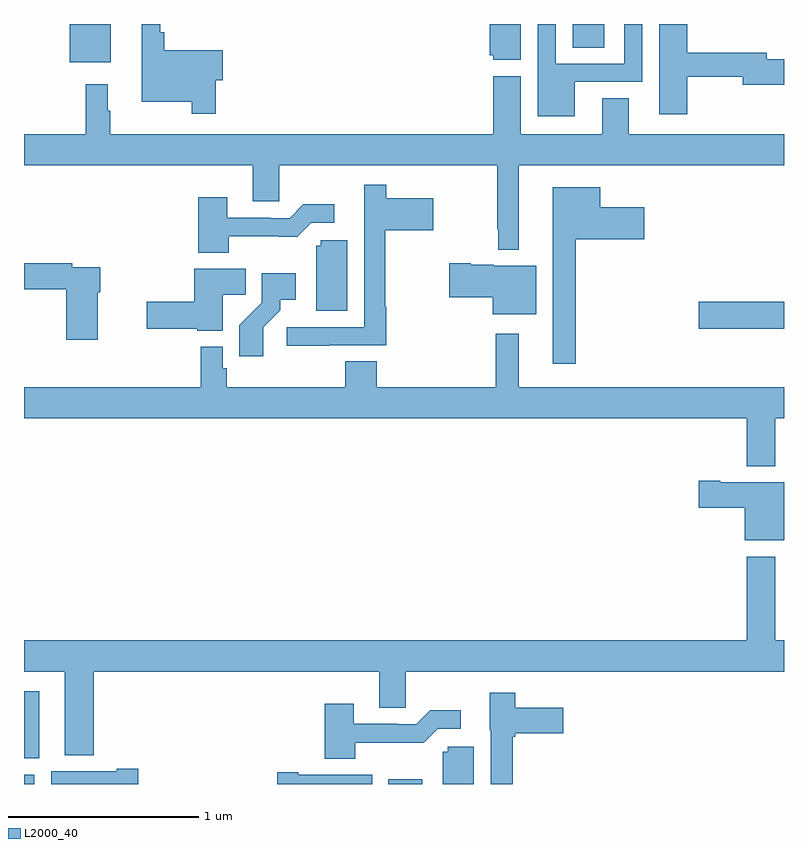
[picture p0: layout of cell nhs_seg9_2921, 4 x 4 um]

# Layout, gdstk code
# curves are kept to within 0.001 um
import gdstk
lib = gdstk.Library(unit=1e-6, precision=1e-09)
def R(c, l, rs):  # rectangles x0, y0, x1, y1
    for r in rs: c.add(gdstk.rectangle(r[:2], r[2:], *l))
def P(c, l, *ps):  # polygons
    for p in ps: c.add(gdstk.Polygon(p, *l))
L2000_40 = (2000, 40)

nhs_seg9_2921 = lib.new_cell('nhs_seg9_2921')
R(nhs_seg9_2921, L2000_40, [(279,1190.5,279.055,1190.548), (280.917,1190.5,281.095,1190.524), (279,1190.636,279.079,1190.989), (282.552,1192.897,283,1193.039), (279.242,1194.299,279.457,1194.5), (281.888,1194.376,282.055,1194.5)])
P(nhs_seg9_2921, L2000_40, [(280.01,1194.203),(280.045,1194.203),(280.045,1194.361),(279.737,1194.361),(279.737,1194.457),(279.717,1194.457),(279.717,1194.5),(279.62,1194.5),(279.62,1194.092),(279.882,1194.092),(279.882,1194.027),(280.01,1194.027)],
  [(281.899,1194.195),(282.255,1194.195),(282.255,1194.5),(282.159,1194.5),(282.159,1194.291),(281.799,1194.291),(281.799,1194.5),(281.703,1194.5),(281.703,1194.014),(281.899,1194.014)],
  [(282.491,1194.222),(282.782,1194.222),(282.782,1194.179),(283,1194.179),(283,1194.314),(282.91,1194.314),(282.91,1194.35),(282.491,1194.35),(282.491,1194.5),(282.344,1194.5),(282.344,1194.024),(282.491,1194.024)],
  [(281.614,1194.5),(281.45,1194.5),(281.45,1194.336),(281.469,1194.336),(281.469,1194.311),(281.614,1194.311)],
  [(281.605,1193.756),(283,1193.756),(283,1193.92),(282.184,1193.92),(282.184,1194.11),(282.044,1194.11),(282.044,1193.92),(281.614,1193.92),(281.614,1194.226),(281.471,1194.226),(281.471,1193.92),(279.454,1193.92),(279.454,1194.044),(279.442,1194.044),(279.442,1194.184),(279.325,1194.184),(279.325,1193.92),(279,1193.92),(279,1193.756),(280.205,1193.756),(280.205,1193.566),(280.344,1193.566),(280.344,1193.756),(281.491,1193.756),(281.491,1193.419),(281.495,1193.419),(281.495,1193.312),(281.605,1193.312)],
  [(280.607,1192.809),(280.907,1192.809),(280.907,1193.012),(280.9,1193.012),(280.9,1193.414),(281.155,1193.414),(281.155,1193.584),(280.907,1193.584),(280.907,1193.653),(280.79,1193.653),(280.79,1193.43),(280.791,1193.43),(280.791,1192.905),(280.383,1192.905),(280.383,1192.807),(280.607,1192.807)],
  [(281.905,1193.366),(282.265,1193.366),(282.265,1193.536),(282.034,1193.536),(282.034,1193.641),(281.783,1193.641),(281.783,1192.713),(281.905,1192.713)],
  [(280.077,1193.382),(280.439,1193.381),(280.512,1193.454),(280.633,1193.454),(280.633,1193.551),(280.471,1193.551),(280.398,1193.478),(280.298,1193.478),(280.298,1193.481),(280.069,1193.481),(280.069,1193.587),(279.917,1193.587),(279.917,1193.297),(280.077,1193.297)],
  [(280.702,1193.361),(280.563,1193.361),(280.563,1193.334),(280.538,1193.334),(280.538,1192.99),(280.702,1192.99)],
  [(281.695,1193.227),(281.472,1193.227),(281.472,1193.234),(281.35,1193.234),(281.35,1193.24),(281.238,1193.24),(281.238,1193.062),(281.468,1193.062),(281.468,1192.973),(281.695,1192.973)],
  [(279.388,1193.087),(279.401,1193.087),(279.401,1193.22),(279.254,1193.22),(279.254,1193.24),(279,1193.24),(279,1193.104),(279.223,1193.104),(279.223,1192.839),(279.388,1192.839)],
  [(280.045,1193.074),(280.166,1193.074),(280.166,1193.212),(279.896,1193.212),(279.896,1193.039),(279.645,1193.039),(279.645,1192.897),(279.912,1192.897),(279.912,1192.886),(280.045,1192.886)],
  [(280.258,1192.903),(280.348,1192.993),(280.348,1193.048),(280.429,1193.048),(280.429,1193.188),(280.251,1193.188),(280.251,1193.033),(280.132,1192.914),(280.132,1192.752),(280.258,1192.752)],
  [(282.955,1192.424),(283,1192.424),(283,1192.588),(281.605,1192.588),(281.605,1192.87),(281.484,1192.87),(281.484,1192.588),(280.856,1192.588),(280.856,1192.724),(280.691,1192.724),(280.691,1192.588),(280.067,1192.588),(280.067,1192.689),(280.047,1192.689),(280.047,1192.801),(279.931,1192.801),(279.931,1192.588),(279,1192.588),(279,1192.424),(282.803,1192.424),(282.803,1192.172),(282.955,1192.172)],
  [(283,1192.087),(282.664,1192.087),(282.664,1192.095),(282.552,1192.095),(282.552,1191.953),(282.794,1191.953),(282.794,1191.782),(283,1191.782)],
  [(279.368,1191.092),(280.871,1191.092),(280.871,1190.902),(281.01,1190.902),(281.01,1191.092),(283,1191.092),(283,1191.256),(282.955,1191.256),(282.955,1191.697),(282.803,1191.697),(282.803,1191.256),(279,1191.256),(279,1191.092),(279.215,1191.092),(279.215,1190.651),(279.368,1190.651)],
  [(281.573,1190.75),(281.586,1190.75),(281.586,1190.768),(281.839,1190.768),(281.839,1190.902),(281.586,1190.902),(281.586,1190.98),(281.45,1190.98),(281.45,1190.784),(281.457,1190.784),(281.457,1190.5),(281.573,1190.5)],
  [(280.743,1190.718),(281.105,1190.717),(281.178,1190.79),(281.299,1190.79),(281.299,1190.887),(281.137,1190.887),(281.064,1190.814),(280.964,1190.814),(280.964,1190.817),(280.735,1190.817),(280.735,1190.923),(280.583,1190.923),(280.583,1190.633),(280.743,1190.633)],
  [(281.368,1190.697),(281.229,1190.697),(281.229,1190.67),(281.204,1190.67),(281.204,1190.5),(281.368,1190.5)],
  [(279.601,1190.579),(279.488,1190.579),(279.488,1190.566),(279.143,1190.566),(279.143,1190.5),(279.601,1190.5)],
  [(280.832,1190.548),(280.444,1190.548),(280.444,1190.561),(280.332,1190.561),(280.332,1190.5),(280.832,1190.5)])

lib.write_gds('nhs_seg9_2921.gds')
